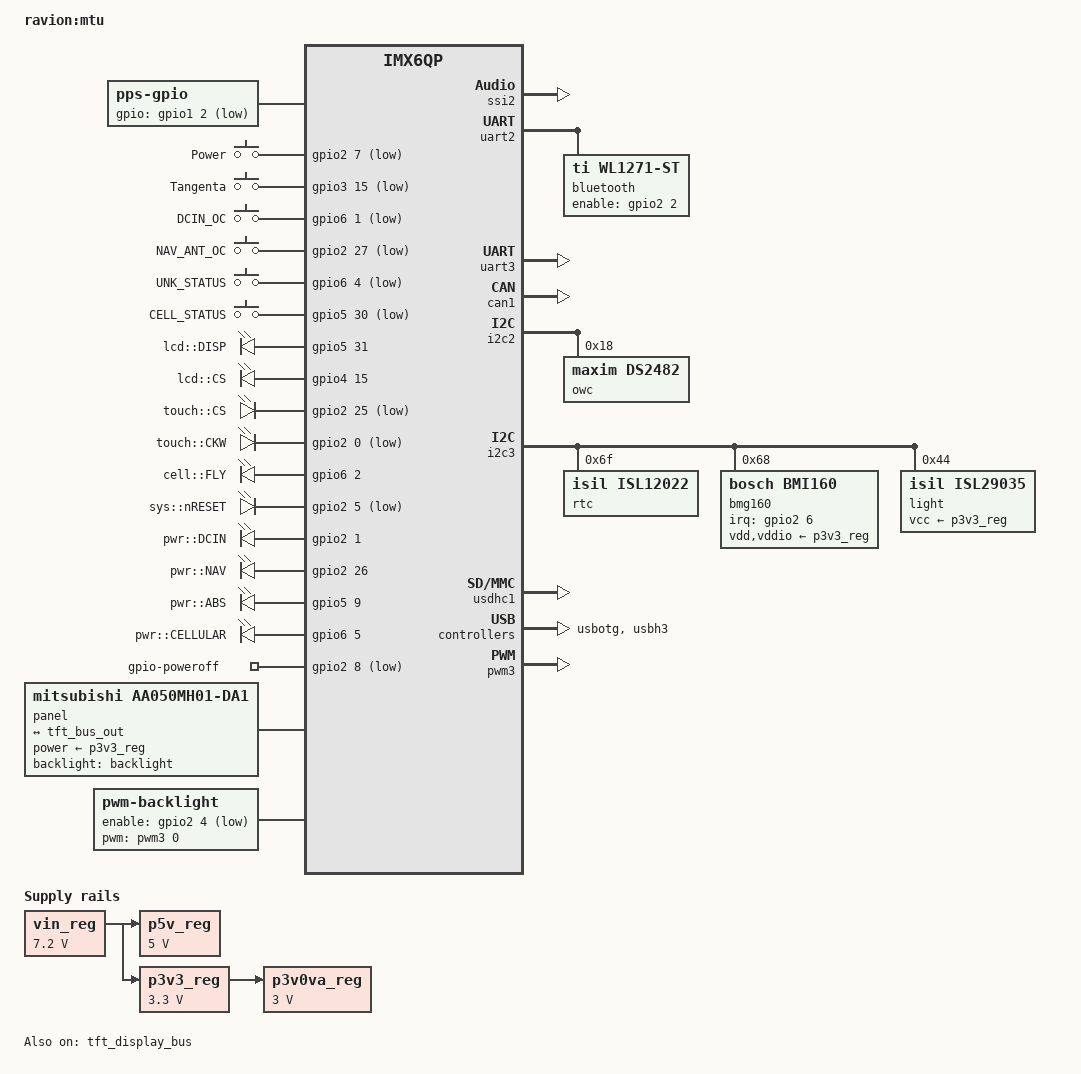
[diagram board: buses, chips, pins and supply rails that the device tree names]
/*
 * Copyright 2018 Radioavionica Corp.
 *
 * Author: Alex A. Mihaylov <minimumlaw@rambler.ru>
 *
 * This program is free software; you can redistribute it and/or modify
 * it under the terms of the GNU General Public License version 2 as
 * published by the Free Software Foundation.
 *
 */
/dts-v1/;
#include "imx6qp.dtsi"

#include "imx6qdl-ravion-v2.dtsi"

/ {
	model = "ravion:mtu";
	compatible = "ravion,imx6qp", "fsl,imx6qp";

	/*
	 * Device specific regulators
	 */
	vin_reg: regulator_vin {
			compatible = "regulator-fixed";
			regulator-name = "VIN";
			/* FixMe: 5.0...8.4V input voltage */
			regulator-min-microvolt = <7200000>;
			regulator-max-microvolt = <7200000>;
			regulator-always-on;
	};

	p5v_reg: regulator_5v {
			compatible = "regulator-fixed";
			regulator-name = "+5V";
			regulator-min-microvolt = <5000000>;
			regulator-max-microvolt = <5000000>;
			vin-supply = <&vin_reg>;
			regulator-always-on;
	};

	p3v3_reg: regulator_3v3 {
			compatible = "regulator-fixed";
			regulator-name = "+3.3V";
			regulator-min-microvolt = <3300000>;
			regulator-max-microvolt = <3300000>;
			vin-supply = <&vin_reg>;
			regulator-always-on;
	};

	p3v0va_reg: regulator_3v0va {
			compatible = "regulator-fixed";
			regulator-name = "+3.0VA";
			regulator-min-microvolt = <3000000>;
			regulator-max-microvolt = <3000000>;
			vin-supply = <&p3v3_reg>;
			regulator-always-on;
	};

	pps {
		compatible = "pps-gpio";
		gpios = <&gpio1 2 GPIO_ACTIVE_LOW>;		/* soDimm 055 */
	};

	gpio-keys {
		compatible = "gpio-keys";

		power {
			label = "Power";
			gpios = <&gpio2 7 GPIO_ACTIVE_LOW>;	/* soDimm 125 */
			linux,code = <KEY_POWER>;
			debounce-interval = <100>;
			wakeup-source;
		};

		tangenta {
			label = "Tangenta";
			gpios = <&gpio3 15 GPIO_ACTIVE_LOW>;	/* soDimm 120 */
			linux,code = <KEY_F2>;
			debounce-interval = <100>;
			wakeup-source;
		};

		oc1 {
			label = "DCIN_OC";
			gpios = <&gpio6  1 GPIO_ACTIVE_LOW>;	/* soDimm 160 */
			linux,code = <KEY_MACRO1>;
			wakeup-source;
		};

		oc2 {
			label = "NAV_ANT_OC";
			gpios = <&gpio2 27 GPIO_ACTIVE_LOW>;	/* soDimm 114 */
			linux,code = <KEY_MACRO1>;
			wakeup-source;
		};


		unk_stat {
			label = "UNK_STATUS";
			gpios = <&gpio6  4 GPIO_ACTIVE_LOW>;	/* soDimm 085 */
			linux,code = <KEY_MACRO9>;
			wakeup-source;
		};


		cell_scat {
			label = "CELL_STATUS";
			gpios = <&gpio5 30 GPIO_ACTIVE_LOW>;	/* soDimm 164 */
			linux,code = <KEY_MACRO10>;
			wakeup-source;
		};
	};

	gpio-leds {
		compatible = "gpio-leds";

		lcd_disp {
			label = "lcd::DISP";
			gpios = <&gpio5 31 GPIO_ACTIVE_HIGH>;	/* soDimm 116 */
			default-state = "on";
		};

		lcd_sc {
			label = "lcd::CS";
			gpios = <&gpio4 15 GPIO_ACTIVE_HIGH>;	/* soDimm 158 */
			default-state = "off";
		};

		touch_sc {
			label = "touch::CS";
			gpios = <&gpio2 25 GPIO_ACTIVE_LOW>;	/* soDimm 110 */
			default-state = "off";
		};

		touch_ckw {
			label = "touch::CKW";
			gpios = <&gpio2  0 GPIO_ACTIVE_LOW>;	/* soDimm 111 */
			default-state = "off";
		};

		cell_fly {
			label = "cell::FLY";
			gpios = <&gpio6  2 GPIO_ACTIVE_HIGH>;	/* soDimm 166 */
			default-state = "off";
		};

		sys_reset {
			label = "sys::nRESET";
			gpios = <&gpio2 5 GPIO_ACTIVE_LOW>;	/* soDimm 121 */
			default-state = "off";
		};

		pwr_dcin {
			label = "pwr::DCIN";
			gpios = <&gpio2 1 GPIO_ACTIVE_HIGH>;		/* soDimm 113 */
			default-state = "on";
		};

		pwr_nav {
			label = "pwr::NAV";
			gpios = <&gpio2 26 GPIO_ACTIVE_HIGH>;		/* soDimm 112 */
			default-state = "on";
		};

		pwr_abs {
			label = "pwr::ABS";
			gpios = <&gpio5  9 GPIO_ACTIVE_HIGH>;		/* soDimm 122 */
			default-state = "on";
		};

		pwr_cellular {
			label = "pwr::CELLULAR";
			gpios = <&gpio6  5 GPIO_ACTIVE_HIGH>;		/* soDimm 162 */
			default-state = "on";
		};
	};

	gpio-poweroff {
		compatible = "gpio-poweroff";
		gpios = <&gpio2 8 GPIO_ACTIVE_LOW>;		/* soDimm 127 */
	};

	panel {
		power-supply = <&p3v3_reg>;
		backlight = <&backlight>;
		compatible = "mitsubishi,aa050mh01-da1";
/****** Alternative record (without panel-simple patches ******
		compatible = "panel-dpi";
		width-mm = <109>;
		height-mm = <65>;

		panel-timing {
			clock-frequency = <30400000>;
			hactive = <800>;
			vactive = <480>;
			hfront-porch = <60>;
			hsync-len = <40>;
			hback-porch = <60>;
			vfront-porch = <15>;
			vsync-len = <15>;
			vback-porch = <15>;
			hsync-active = <0>;
			vsync-active = <0>;
			de-active = <1>;
			pixelclk-active = <1>;
		};
****** Alternative record (without panel-simple patches ******/

		port {
			lcd_panel_in: endpoint {
				remote-endpoint = <&tft_bus_out>;
			};
		};
	};

	backlight: backlight {
		compatible = "pwm-backlight";
		enable-gpios = <&gpio2 4 GPIO_ACTIVE_LOW>;	/* soDimm 119 */
		pwms = <&pwm3 0 2000 0>; /* FixMe: frequency !!! */
		brightness-levels = <0 31 63 95 127 159 191 223 255>;
		default-brightness-level = <5>;
		status = "okay";
	};

};

/*
 * Sound subsystem
 */
&ssi2	{	status = "okay";	};

/*
 * Video subsystem
 */
/* VGA */
&tft_display_bus {
	status = "okay";
};
&tft_bus_out {
	remote-endpoint = <&lcd_panel_in>;
};
/* LVDS */
&ldb {
	status = "disabled";
};

/*
 * Serial ports
 */
/* &uart1 {	status = "okay";	}; => Allways enabled */
&uart2 {
	status = "okay";


	bluetooth { /* DD19: CC2564CRVM */
		enable-gpios = <&gpio2 2 GPIO_ACTIVE_HIGH>;	/* soDimm 115 */
		compatible = "ti,wl1271-st";
		clocks = <&clk_32k_bt 0>;
		clock-names = "ext_clock";
		max-speed = <3686400>;
		current-speed = <115200>;

		status = "okay";
		clk_32k_bt: bt_clk {
			compatible = "fixed-clock";
			#clock-cells = <0>;
			clock-frequency = <32768>;
			clock-accuracy = <100>;
		};
	};
};
&uart3 {
	status = "okay";
};

/*
 * Controller Area Network (CAN) Bus
 */
&can1 {
	status = "okay";
};

/*
 * I2C Busses
 */
&i2c2 {	/* Compatible I2C: soDimm 194, 196 */
	status = "okay";

	owc: ds2482@18 { /* DS2484: I2C to OneWire Converter */
		status = "okay";
		compatible = "maxim,ds2482";
		reg = <0x18>;
	};
};

&i2c3 { /* Extended I2C: soDimm 128, 130 */
	status = "okay";
	#address-cells = <1>;
	#size-cells = <0>;

	rtc@6f { /* ISL12020: I2C Real Time Clock (battery backup) */
		compatible = "isil,isl12022";
		reg = <0x6f>;
	};

	bmg160@68 {
		compatible = "bosch,bmi160";
		reg = <0x68>;
		vdd-supply = <&p3v3_reg>;
		vddio-supply = <&p3v3_reg>;
		interrupt-parent = <&gpio2>;
		interrupts = <6 (IRQ_TYPE_EDGE_RISING)>;	/* soDimm 123 */
		interrupt-names = "INT1";
	};

	light@44 {
		compatible = "isil,isl29035";
		vcc-supply = <&p3v3_reg>;
		reg = <0x44>;
		interrupt-parent = <&gpio6>;
		interrups = <3 IRQ_TYPE_LEVEL_HIGH>;		/* soDimm 059 */
	};
};

&mipi_csi {
	status = "disabled";
};

/*
 * SPI Bus
 */
&ecspi1 {
	status = "disabled";
};

/*
 * SD/MMC and eMMC controllers
 */
&usdhc1 {	status = "okay";	}; /* compatible */
&usdhc2 {	status = "disabled";	}; /* externed */
/* &usdhc3 {	status = "okay";	}; => eMMC allways enabled */

/*
 * Ethernet controller
 */
/* &fec {	status = "okay";	}; => eth0 allways enabled */

/*
 * Audio (digital part)
 */
/* &audmux {	status = "okay";	}; => Allways enabled */
/* &ssi1 {	status = "okay";	}; => Allways enabled */

/*
 * High-speed serial bus
 */
&pcie {
	status = "disabled";
};

&sata {
	status = "disabled";
};

/* &usbh1  {	status = "okay";	}; HOST => Allways enabled */

&usbotg	{ /* OTG */
	power-active-high;
	status = "okay";
};

&usbh3 { /* HSIC */
	status = "okay";
	#address-cells = <1>;
	#size-cells = <0>;
};

/*
 * PWMs
 */
&pwm3	{	status = "okay";	};
&pwm4	{	status = "disabled";	};

/*
 * Video subsystems
 */
&hdmi	{	status = "disabled";	};
